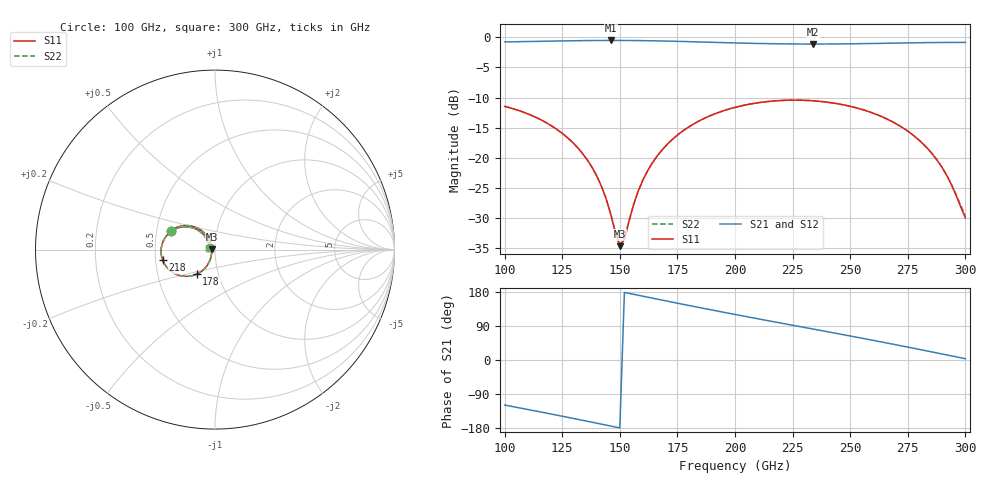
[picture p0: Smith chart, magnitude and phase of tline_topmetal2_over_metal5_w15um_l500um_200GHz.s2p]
#  GHZ S DB R 50
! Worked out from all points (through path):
!   101 points, 100 GHz to 300 GHz, reference 50 ohm
!   highest |S21| = -0.55 dB at 146 GHz (marker M1); lowest = -1.1 dB at 234 GHz (marker M2)
!   group delay of S21, straight-line fit = 3.29 ps
!   lowest |S11| = -34.6 dB at 150 GHz (marker M3), VSWR 1.04, Z = 48.2 + j0.17 ohm
!   |S11| at or under -10 dB: start of sweep to end of sweep
!   |S22| runs from -34.4 to -10.4 dB; largest |S21 - S12| = 1e-13
!   S11 on the Smith chart (normalised r, x): 100 GHz: 0.59, +0.14; 178 GHz: 0.79, -0.22; 218 GHz: 0.55, -0.07; 300 GHz: 0.94, +0.02
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100  -11.47 156.6  -0.79 -118.9  -0.79 -118.9  -11.46 156.7
120  -14.61 135.1  -0.66 -142.4  -0.66 -142.4  -14.60 135.3
134  -19.36 122.5  -0.58 -159.3  -0.58 -159.3  -19.35 122.8
140  -23.01 120.5  -0.56 -166.7  -0.56 -166.7  -22.98 120.9
144  -26.71 124.0  -0.55 -171.7  -0.55 -171.7  -26.67 124.5
146  -29.24 130.2  -0.55 -174.2  -0.55 -174.2  -29.17 130.9
150  -34.62 174.5  -0.55 -179.2  -0.55 -179.2  -34.42 174.7
152  -33.51 -149.6  -0.56 178.3  -0.56 178.3  -33.36 -150.2
156  -27.72 -120.6  -0.57 173.4  -0.57 173.4  -27.69 -121.1
160  -23.69 -115.3  -0.58 168.4  -0.58 168.4  -23.67 -115.5
168  -18.84 -117.9  -0.64 158.5  -0.64 158.5  -18.84 -118.0
178  -15.37 -126.7  -0.73 146.3  -0.73 146.3  -15.36 -126.7
188  -13.22 -136.9  -0.83 134.3  -0.83 134.3  -13.22 -136.9
200  -11.64 -149.5  -0.96 120.2  -0.96 120.2  -11.63 -149.5
218  -10.54 -168.4  -1.10 99.6  -1.10 99.6  -10.54 -168.3
234  -10.55 174.9  -1.14 81.5  -1.14 81.5  -10.54 175.1
252  -11.65 156.4  -1.10 61.0  -1.10 61.0  -11.64 156.6
268  -13.95 140.6  -1.00 42.4  -1.00 42.4  -13.94 140.9
278  -16.45 132.0  -0.94 30.4  -0.94 30.4  -16.43 132.4
286  -19.52 127.4  -0.90 20.7  -0.90 20.7  -19.48 128.2
292  -22.99 128.6  -0.88 13.3  -0.88 13.3  -22.91 129.6
300  -29.94 159.6  -0.87 3.4  -0.87 3.4  -29.57 160.6
